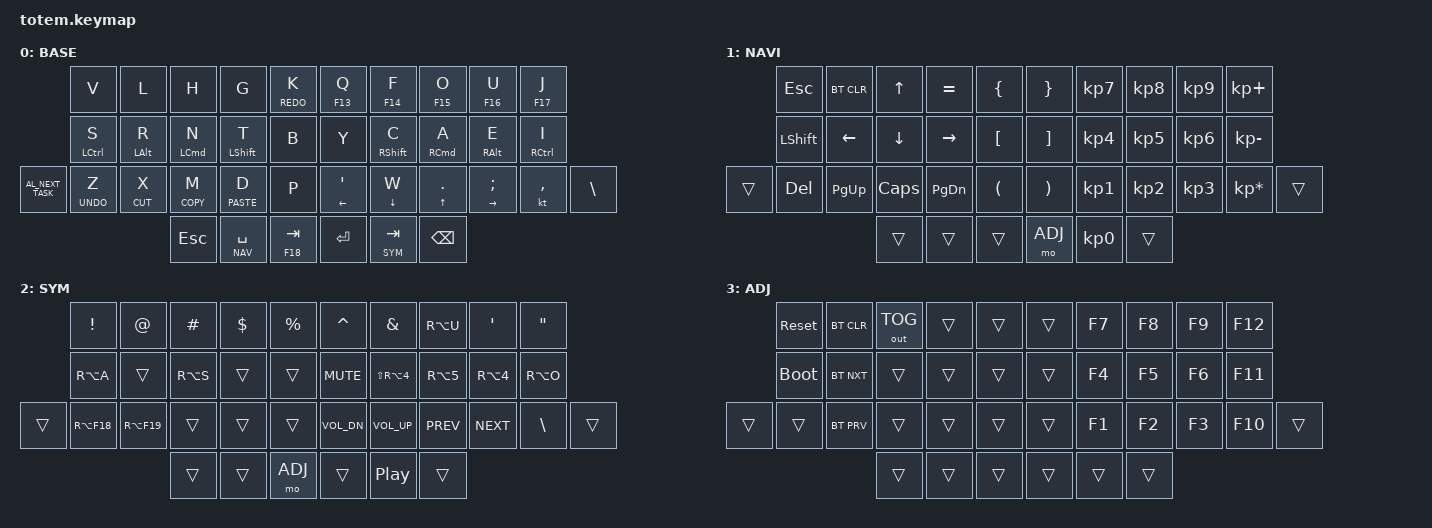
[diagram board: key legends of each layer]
//
//                                                        ▀▀▀▀▀     ▀▀▀▀▀          ▀▀█▀▀
//                                                        ▄▀▀▀▄  ▄  ▄▀▀▀▄  ▄  ▄▀▀▀▄  █  ▄▀▀▀▄
//                                                        █   █  █  █   █  █  █   █  █  █   █
//                                                         ▀▀▀   █   ▀▀▀   █   ▀▀▀   ▀   ▀▀▀
//                                                               █      ▄▄▄█▄▄▄    █   █  
//                                                               ▀      █  █  █     █▄█
//                                                             ▀▀▀▀▀    █  █  █      ▀
//                                                                      ▀  ▀  ▀
//
// ▄▄▄▄▄▄▄▄▄▄▄▄▄▄▄▄▄▄▄▄▄▄▄▄▄▄▄▄▄▄▄▄▄▄▄▄▄▄▄▄▄▄▄▄▄▄▄▄▄▄▄▄▄▄▄▄▄▄▄▄▄▄▄▄▄▄▄▄▄▄▄▄▄▄▄▄▄▄▄▄▄▄▄▄▄▄▄▄▄▄▄▄▄▄▄▄▄▄▄▄▄▄▄▄▄▄▄▄▄▄▄▄▄▄▄▄▄▄▄▄▄▄▄▄▄▄▄▄▄▄▄▄▄▄▄▄▄▄▄▄▄▄▄▄▄▄▄▄▄

#include <behaviors.dtsi>
#include <dt-bindings/zmk/bt.h>
#include <dt-bindings/zmk/keys.h>
#include <dt-bindings/zmk/outputs.h>

#define BASE 0
#define NAV  1
#define SYM  2
#define ADJ  3

&mt {
    quick-tap-ms = <100>;
    global-quick-tap;
    flavor = "tap-preferred";
    tapping-term-ms = <170>;
};

/ {
    combos {
        compatible = "zmk,combos";

        combo_esc {
            timeout-ms = <50>;
            key-positions = <0 1>;
            bindings = <&kp ESC>;
        };
    };

    keymap {
        compatible = "zmk,keymap";

        // ▄▄▄▄▄▄▄▄▄▄▄▄▄▄▄▄▄▄▄▄▄▄▄▄▄▄▄▄▄▄▄▄▄▄▄▄▄▄▄▄▄▄▄▄▄▄▄▄▄▄▄▄▄▄▄▄▄▄▄▄▄▄▄▄▄▄▄▄▄▄▄▄▄▄▄▄▄▄▄▄▄▄▄▄▄▄▄▄▄▄▄▄▄▄▄▄▄▄▄▄▄▄▄▄▄▄▄▄▄▄▄▄▄▄▄▄▄▄▄▄▄▄▄▄▄▄▄▄▄▄▄▄▄▄▄▄▄▄▄▄▄▄▄▄▄▄▄▄▄

        base_layer {
            // ┏━━━━━━━━━━━━━━━━━━━━━━━━━━━━━━━━━━━━━━━┓

            label = "BASE";

            // ┗━━━━━━━━━━━━━━━━━━━━━━━━━━━━━━━━━━━━━━━┛
            //             ┏━━━━━━━━━━━┳━━━━━━━━━━━┳━━━━━━━━━━━┳━━━━━━━━━━━┳━━━━━━━━━━━┓   ┏━━━━━━━━━━━┳━━━━━━━━━━━┳━━━━━━━━━━━┳━━━━━━━━━━━┳━━━━━━━━━━━┓
            //             ┃     Q     ┃     W     ┃     E     ┃     R     ┃     T     ┃   ┃     Y     ┃     U     ┃     I     ┃     O     ┃     P     ┃
            //             ┣━━━━━━━━━━━╋━━━━━━━━━━━╋━━━━━━━━━━━╋━━━━━━━━━━━╋━━━━━━━━━━━┫   ┣━━━━━━━━━━━╋━━━━━━━━━━━╋━━━━━━━━━━━╋━━━━━━━━━━━╋━━━━━━━━━━━┫
            //             ┃     A     ┃     S     ┃     D     ┃     F     ┃     G     ┃   ┃     H     ┃     J     ┃     K     ┃     L     ┃     ;     ┃
            // ┏━━━━━━━━━━━╋━━━━━━━━━━━╋━━━━━━━━━━━╋━━━━━━━━━━━╋━━━━━━━━━━━╋━━━━━━━━━━━┫   ┣━━━━━━━━━━━╋━━━━━━━━━━━╋━━━━━━━━━━━╋━━━━━━━━━━━╋━━━━━━━━━━━╋━━━━━━━━━━━┓
            // ┃     Q     ┃     Z     ┃     X     ┃     C     ┃     V     ┃     B     ┃   ┃     N     ┃     M     ┃     ,     ┃     .     ┃     /     ┃     \     ┃
            // ┗━━━━━━━━━━━┻━━━━━━━━━━━┻━━━━━━━━━━━╋━━━━━━━━━━━╋━━━━━━━━━━━╋━━━━━━━━━━━┫   ┣━━━━━━━━━━━╋━━━━━━━━━━━╋━━━━━━━━━━━╋━━━━━━━━━━━┻━━━━━━━━━━━┻━━━━━━━━━━━┛
            //                                     ┃    DEL    ┃    TAB    ┃    SPC    ┃   ┃   ENTER   ┃           ┃   BSPC    ┃
            //                                     ┗━━━━━━━━━━━┻━━━━━━━━━━━┻━━━━━━━━━━━┛   ┗━━━━━━━━━━━┻━━━━━━━━━━━┻━━━━━━━━━━━┛

            bindings = <
                    &kp V               &kp L           &kp H               &kp G             &mt K_REDO K    &mt F13 Q                    &mt F14 F          &mt F15 O            &mt F16 U            &mt F17 J
                    &mt LEFT_CONTROL S  &mt LEFT_ALT R  &mt LEFT_COMMAND N  &mt LEFT_SHIFT T  &kp B           &kp Y                        &mt RIGHT_SHIFT C  &mt RIGHT_COMMAND A  &mt RIGHT_ALT E      &mt RIGHT_CONTROL I
&kp C_AL_NEXT_TASK  &mt K_UNDO Z        &mt K_CUT X     &mt K_COPY M        &mt K_PASTE D     &kp P           &mt LEFT_ARROW SINGLE_QUOTE  &mt DOWN_ARROW W   &mt UP_ARROW PERIOD  &mt RIGHT SEMICOLON  &kt COMMA            &kp BSLH
                                                        &kp ESCAPE          &lt NAV SPACE     &mt F18 TAB     &kp RET                      &lt SYM TAB        &kp BSPC
            >;
        };

        // ▄▄▄▄▄▄▄▄▄▄▄▄▄▄▄▄▄▄▄▄▄▄▄▄▄▄▄▄▄▄▄▄▄▄▄▄▄▄▄▄▄▄▄▄▄▄▄▄▄▄▄▄▄▄▄▄▄▄▄▄▄▄▄▄▄▄▄▄▄▄▄▄▄▄▄▄▄▄▄▄▄▄▄▄▄▄▄▄▄▄▄▄▄▄▄▄▄▄▄▄▄▄▄▄▄▄▄▄▄▄▄▄▄▄▄▄▄▄▄▄▄▄▄▄▄▄▄▄▄▄▄▄▄▄▄▄▄▄▄▄▄▄▄▄▄▄▄▄▄

        nav_layer {
            // ┏━━━━━━━━━━━━━━━━━━━━━━━━━━━━━━━━━━━━━━━┓

            label = "NAVI";

            // ┗━━━━━━━━━━━━━━━━━━━━━━━━━━━━━━━━━━━━━━━┛
            //             ┏━━━━━━━━━━━┳━━━━━━━━━━━┳━━━━━━━━━━━┳━━━━━━━━━━━┳━━━━━━━━━━━┓   ┏━━━━━━━━━━━┳━━━━━━━━━━━┳━━━━━━━━━━━┳━━━━━━━━━━━┳━━━━━━━━━━━┓
            //             ┃           ┃           ┃     UP    ┃           ┃     {     ┃   ┃     }     ┃     7     ┃     8     ┃     9     ┃     +     ┃
            //             ┣━━━━━━━━━━━╋━━━━━━━━━━━╋━━━━━━━━━━━╋━━━━━━━━━━━╋━━━━━━━━━━━┫   ┣━━━━━━━━━━━╋━━━━━━━━━━━╋━━━━━━━━━━━╋━━━━━━━━━━━╋━━━━━━━━━━━┫
            //             ┃   SHIFT   ┃   LEFT    ┃    DOWN   ┃   RIGHT   ┃     [     ┃   ┃     ]     ┃     4     ┃     5     ┃     6     ┃     -     ┃
            // ┏━━━━━━━━━━━╋━━━━━━━━━━━╋━━━━━━━━━━━╋━━━━━━━━━━━╋━━━━━━━━━━━╋━━━━━━━━━━━┫   ┣━━━━━━━━━━━╋━━━━━━━━━━━╋━━━━━━━━━━━╋━━━━━━━━━━━╋━━━━━━━━━━━╋━━━━━━━━━━━┓
            // ┃           ┃           ┃   P UP    ┃  C LOCK   ┃  P DOWN   ┃     (     ┃   ┃     )     ┃     1     ┃     2     ┃     3     ┃     *     ┃           ┃
            // ┗━━━━━━━━━━━┻━━━━━━━━━━━┻━━━━━━━━━━━╋━━━━━━━━━━━╋━━━━━━━━━━━╋━━━━━━━━━━━┫   ┣━━━━━━━━━━━╋━━━━━━━━━━━╋━━━━━━━━━━━╋━━━━━━━━━━━┻━━━━━━━━━━━┻━━━━━━━━━━━┛
            //                                     ┃           ┃    TAB    ┃    SPC    ┃   ┃    DEL    ┃     0     ┃           ┃
            //                                     ┗━━━━━━━━━━━┻━━━━━━━━━━━┻━━━━━━━━━━━┛   ┗━━━━━━━━━━━┻━━━━━━━━━━━┻━━━━━━━━━━━┛

            bindings = <
        &kp ESC    &bt BT_CLR  &kp UP    &kp EQUAL  &kp LBRC    &kp RBRC  &kp KP_N7  &kp KP_N8  &kp KP_N9  &kp KP_PLUS
        &kp LSHFT  &kp LEFT    &kp DOWN  &kp RIGHT  &kp LBKT    &kp RBKT  &kp KP_N4  &kp KP_N5  &kp KP_N6  &kp KP_MINUS
&trans  &kp DEL    &kp PG_UP   &kp CAPS  &kp PG_DN  &kp LPAR    &kp RPAR  &kp KP_N1  &kp KP_N2  &kp KP_N3  &kp KP_MULTIPLY  &trans
                               &trans    &trans     &trans      &mo ADJ   &kp KP_N0  &trans
            >;
        };

        // ▄▄▄▄▄▄▄▄▄▄▄▄▄▄▄▄▄▄▄▄▄▄▄▄▄▄▄▄▄▄▄▄▄▄▄▄▄▄▄▄▄▄▄▄▄▄▄▄▄▄▄▄▄▄▄▄▄▄▄▄▄▄▄▄▄▄▄▄▄▄▄▄▄▄▄▄▄▄▄▄▄▄▄▄▄▄▄▄▄▄▄▄▄▄▄▄▄▄▄▄▄▄▄▄▄▄▄▄▄▄▄▄▄▄▄▄▄▄▄▄▄▄▄▄▄▄▄▄▄▄▄▄▄▄▄▄▄▄▄▄▄▄▄▄▄▄▄▄▄

        sim_layer {
            // ┏━━━━━━━━━━━━━━━━━━━━━━━━━━━━━━━━━━━━━━━┓

            label = "SYM";

            // ┗━━━━━━━━━━━━━━━━━━━━━━━━━━━━━━━━━━━━━━━┛
            //             ┏━━━━━━━━━━━┳━━━━━━━━━━━┳━━━━━━━━━━━┳━━━━━━━━━━━┳━━━━━━━━━━━┓   ┏━━━━━━━━━━━┳━━━━━━━━━━━┳━━━━━━━━━━━┳━━━━━━━━━━━┳━━━━━━━━━━━┓
            //             ┃     !     ┃     @     ┃     #     ┃     $     ┃     %     ┃   ┃     ˆ     ┃     &     ┃     Ü     ┃     '     ┃     "     ┃
            //             ┣━━━━━━━━━━━╋━━━━━━━━━━━╋━━━━━━━━━━━╋━━━━━━━━━━━╋━━━━━━━━━━━┫   ┣━━━━━━━━━━━╋━━━━━━━━━━━╋━━━━━━━━━━━╋━━━━━━━━━━━╋━━━━━━━━━━━┫
            //             ┃     Ä     ┃           ┃    SZ     ┃           ┃           ┃   ┃   MUTE    ┃   YEN     ┃   EURO    ┃  POUND    ┃     Ö     ┃
            // ┏━━━━━━━━━━━╋━━━━━━━━━━━╋━━━━━━━━━━━╋━━━━━━━━━━━╋━━━━━━━━━━━╋━━━━━━━━━━━┫   ┣━━━━━━━━━━━╋━━━━━━━━━━━╋━━━━━━━━━━━╋━━━━━━━━━━━╋━━━━━━━━━━━╋━━━━━━━━━━━┓
            // ┃           ┃  EMAIL1   ┃  EMAIL2   ┃           ┃           ┃           ┃   ┃   VOL-    ┃   VOL+    ┃   LAST    ┃   NEXT    ┃     \     ┃           ┃
            // ┗━━━━━━━━━━━┻━━━━━━━━━━━┻━━━━━━━━━━━╋━━━━━━━━━━━╋━━━━━━━━━━━╋━━━━━━━━━━━┫   ┣━━━━━━━━━━━╋━━━━━━━━━━━╋━━━━━━━━━━━╋━━━━━━━━━━━┻━━━━━━━━━━━┻━━━━━━━━━━━┛
            //                                     ┃           ┃    GIF    ┃    ADJ    ┃   ┃           ┃           ┃           ┃
            //                                     ┗━━━━━━━━━━━┻━━━━━━━━━━━┻━━━━━━━━━━━┛   ┗━━━━━━━━━━━┻━━━━━━━━━━━┻━━━━━━━━━━━┛

            bindings = <
        &kp EXCL     &kp AT       &kp HASH   &kp DLLR  &kp PRCNT    &kp CARET     &kp AMPS        &kp RA(U)   &kp SQT     &kp DQT
        &kp RA(A)    &trans       &kp RA(S)  &trans    &trans       &kp C_MUTE    &kp LS(RA(N4))  &kp RA(N5)  &kp RA(N4)  &kp RA(O)
&trans  &kp RA(F18)  &kp RA(F19)  &trans     &trans    &trans       &kp C_VOL_DN  &kp C_VOL_UP    &kp C_PREV  &kp C_NEXT  &kp BSLH   &trans
                                  &trans     &trans    &mo ADJ      &trans        &kp C_PP        &trans
            >;
        };

        // ▄▄▄▄▄▄▄▄▄▄▄▄▄▄▄▄▄▄▄▄▄▄▄▄▄▄▄▄▄▄▄▄▄▄▄▄▄▄▄▄▄▄▄▄▄▄▄▄▄▄▄▄▄▄▄▄▄▄▄▄▄▄▄▄▄▄▄▄▄▄▄▄▄▄▄▄▄▄▄▄▄▄▄▄▄▄▄▄▄▄▄▄▄▄▄▄▄▄▄▄▄▄▄▄▄▄▄▄▄▄▄▄▄▄▄▄▄▄▄▄▄▄▄▄▄▄▄▄▄▄▄▄▄▄▄▄▄▄▄▄▄▄▄▄▄▄▄▄▄

        adjust_layer {
            // ┏━━━━━━━━━━━━━━━━━━━━━━━━━━━━━━━━━━━━━━━┓

            label = "ADJ";

            // ┗━━━━━━━━━━━━━━━━━━━━━━━━━━━━━━━━━━━━━━━┛
            //             ┏━━━━━━━━━━━┳━━━━━━━━━━━┳━━━━━━━━━━━┳━━━━━━━━━━━┳━━━━━━━━━━━┓   ┏━━━━━━━━━━━┳━━━━━━━━━━━┳━━━━━━━━━━━┳━━━━━━━━━━━┳━━━━━━━━━━━┓
            //             ┃   RESET   ┃ BT CLEAR  ┃  OUT TOG  ┃           ┃           ┃   ┃           ┃    F7     ┃    F8     ┃    F9     ┃    F12    ┃
            //             ┣━━━━━━━━━━━╋━━━━━━━━━━━╋━━━━━━━━━━━╋━━━━━━━━━━━╋━━━━━━━━━━━┫   ┣━━━━━━━━━━━╋━━━━━━━━━━━╋━━━━━━━━━━━╋━━━━━━━━━━━╋━━━━━━━━━━━┫
            //             ┃ BOOTLOAD  ┃ BT NEXT   ┃           ┃           ┃           ┃   ┃           ┃    F4     ┃    F5     ┃    F6     ┃    F11    ┃
            // ┏━━━━━━━━━━━╋━━━━━━━━━━━╋━━━━━━━━━━━╋━━━━━━━━━━━╋━━━━━━━━━━━╋━━━━━━━━━━━┫   ┣━━━━━━━━━━━╋━━━━━━━━━━━╋━━━━━━━━━━━╋━━━━━━━━━━━╋━━━━━━━━━━━╋━━━━━━━━━━━┓
            // ┃           ┃           ┃ BT PREV   ┃           ┃           ┃           ┃   ┃           ┃    F1     ┃    F2     ┃    F3     ┃    F10    ┃           ┃
            // ┗━━━━━━━━━━━┻━━━━━━━━━━━┻━━━━━━━━━━━╋━━━━━━━━━━━╋━━━━━━━━━━━╋━━━━━━━━━━━┫   ┣━━━━━━━━━━━╋━━━━━━━━━━━╋━━━━━━━━━━━╋━━━━━━━━━━━┻━━━━━━━━━━━┻━━━━━━━━━━━┛
            //                                     ┃           ┃           ┃           ┃   ┃           ┃           ┃           ┃
            //                                     ┗━━━━━━━━━━━┻━━━━━━━━━━━┻━━━━━━━━━━━┛   ┗━━━━━━━━━━━┻━━━━━━━━━━━┻━━━━━━━━━━━┛

            bindings = <
        &sys_reset   &bt BT_CLR  &out OUT_TOG  &trans  &trans    &trans  &kp F7  &kp F8  &kp F9  &kp F12
        &bootloader  &bt BT_NXT  &trans        &trans  &trans    &trans  &kp F4  &kp F5  &kp F6  &kp F11
&trans  &trans       &bt BT_PRV  &trans        &trans  &trans    &trans  &kp F1  &kp F2  &kp F3  &kp F10  &trans
                                 &trans        &trans  &trans    &trans  &trans  &trans
            >;
        };
    };
};
